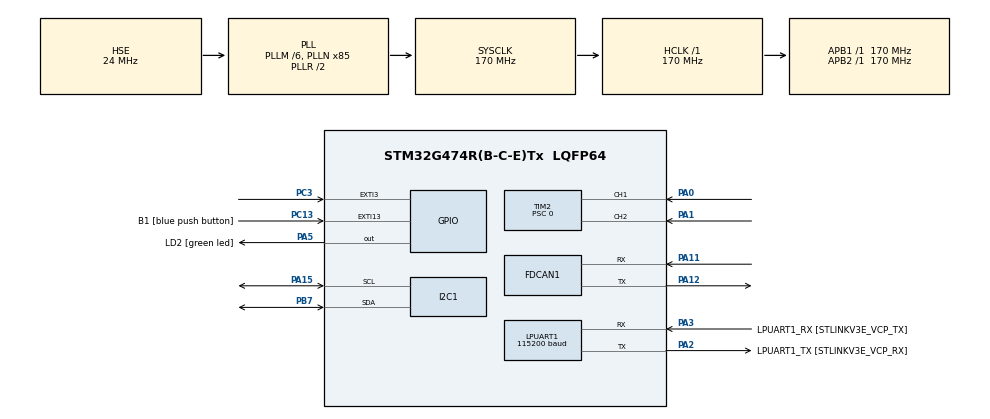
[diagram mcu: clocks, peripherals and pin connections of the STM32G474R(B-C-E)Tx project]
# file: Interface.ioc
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FDCAN1.AutoRetransmission=ENABLE
FDCAN1.CalculateBaudRateNominal=125000
FDCAN1.CalculateTimeBitNominal=8000
FDCAN1.CalculateTimeQuantumNominal=100.0
FDCAN1.DataSyncJumpWidth=12
FDCAN1.DataTimeSeg1=12
FDCAN1.DataTimeSeg2=12
FDCAN1.NominalPrescaler=17
FDCAN1.NominalSyncJumpWidth=13
FDCAN1.NominalTimeSeg1=39
FDCAN1.NominalTimeSeg2=40
FDCAN1.StdFiltersNbr=1
I2C1.Timing=0x30A0A7FB
LPUART1.BaudRate=115200
LPUART1.WordLength=UART_WORDLENGTH_8B
Mcu.Family=STM32G4
Mcu.Name=STM32G474R(B-C-E)Tx
Mcu.Package=LQFP64
NVIC.EXTI15_10_IRQn=true\:0\:0\:false\:false\:true\:true\:true\:true
NVIC.EXTI3_IRQn=true\:0\:0\:false\:false\:true\:true\:true\:true
NVIC.FDCAN1_IT0_IRQn=true\:0\:0\:false\:false\:true\:true\:true\:true
NVIC.FDCAN1_IT1_IRQn=true\:0\:0\:false\:false\:true\:true\:true\:true
NVIC.PriorityGroup=NVIC_PRIORITYGROUP_4
NVIC.TIM2_IRQn=true\:0\:0\:false\:false\:true\:true\:true\:true
PA0.Signal=S_TIM2_CH1
PA1.Signal=S_TIM2_CH2
PA11.Mode=FDCAN_Activate
PA11.Signal=FDCAN1_RX
PA12.Mode=FDCAN_Activate
PA12.Signal=FDCAN1_TX
PA13.GPIO_Label=T_SWDIO
PA13.Mode=Serial_Wire
PA13.Signal=SYS_JTMS-SWDIO
PA14.GPIO_Label=T_SWCLK
PA14.Mode=Serial_Wire
PA14.Signal=SYS_JTCK-SWCLK
PA15.Mode=I2C
PA15.Signal=I2C1_SCL
PA2.GPIO_Label=LPUART1_TX [STLINKV3E_VCP_RX]
PA2.Mode=Asynchronous
PA2.Signal=LPUART1_TX
PA3.GPIO_Label=LPUART1_RX [STLINKV3E_VCP_TX]
PA3.Mode=Asynchronous
PA3.Signal=LPUART1_RX
PA5.GPIO_Label=LD2 [green led]
PA5.Signal=GPIO_Output
PB3.GPIO_Label=T_SWO
PB3.Signal=SYS_JTDO-SWO
PB7.Mode=I2C
PB7.Signal=I2C1_SDA
PC13.GPIO_Label=B1 [blue push button]
PC13.Signal=GPXTI13
PC14-OSC32_IN.Mode=LSE-External-Oscillator
PC14-OSC32_IN.Signal=RCC_OSC32_IN
PC15-OSC32_OUT.Mode=LSE-External-Oscillator
PC15-OSC32_OUT.Signal=RCC_OSC32_OUT
PC3.GPIO_ModeDefaultEXTI=GPIO_MODE_IT_RISING
PC3.GPIO_PuPd=GPIO_PULLUP
PC3.Signal=GPXTI3
PF0-OSC_IN.Mode=HSE-External-Oscillator
PF0-OSC_IN.Signal=RCC_OSC_IN
PF1-OSC_OUT.Mode=HSE-External-Oscillator
PF1-OSC_OUT.Signal=RCC_OSC_OUT
ProjectManager.HeapSize=0x200
ProjectManager.StackSize=0x400
ProjectManager.TargetToolchain=STM32CubeIDE
RCC.ADC12Freq_Value=170000000
RCC.ADC345Freq_Value=170000000
RCC.AHBFreq_Value=170000000
RCC.APB1Freq_Value=170000000
RCC.APB1TimFreq_Value=170000000
RCC.APB2Freq_Value=170000000
RCC.APB2TimFreq_Value=170000000
RCC.CortexFreq_Value=170000000
RCC.EXTERNAL_CLOCK_VALUE=12288000
RCC.HCLKFreq_Value=170000000
RCC.HSE_VALUE=24000000
RCC.HSI48_VALUE=48000000
RCC.HSI_VALUE=16000000
RCC.PLLM=RCC_PLLM_DIV6
RCC.PLLN=85
RCC.PLLSourceVirtual=RCC_PLLSOURCE_HSE
RCC.RTCClockSelection=RCC_RTCCLKSOURCE_LSE
RCC.SYSCLKFreq_VALUE=170000000
RCC.SYSCLKSource=RCC_SYSCLKSOURCE_PLLCLK
RCC.USBFreq_Value=170000000
RCC.VCOOutputFreq_Value=340000000
SH.S_TIM2_CH1.0=TIM2_CH1,Encoder_Interface
SH.S_TIM2_CH2.0=TIM2_CH2,Encoder_Interface
TIM2.AutoReloadPreload=TIM_AUTORELOAD_PRELOAD_ENABLE
TIM2.EncoderMode=TIM_ENCODERMODE_TI12
TIM2.PeriodNoDither=65536
TIM2.Prescaler=0
VP_SYS_VS_DBSignals.Mode=DisableDeadBatterySignals
board=NUCLEO-G474RE

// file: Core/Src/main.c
/* USER CODE BEGIN Header */
/**
  ******************************************************************************
  * @file           : main.c
  * @brief          : Main program body
  ******************************************************************************
  * @attention
  *
  * Copyright (c) 2023 STMicroelectronics.
  * All rights reserved.
  *
  * This software is licensed under terms that can be found in the LICENSE file
  * in the root directory of this software component.
  * If no LICENSE file comes with this software, it is provided AS-IS.
  *
  ******************************************************************************
  */
/* USER CODE END Header */
#include "main.h"

/* USER CODE BEGIN Includes */
#include "stdbool.h"
#include "i2c-lcd.h"
#include <DataFrame.h>
#include <CANparser.h>
#include <stdio.h>
#include <string.h>
/* USER CODE END Includes */

FDCAN_HandleTypeDef hfdcan1;

I2C_HandleTypeDef hi2c1;

UART_HandleTypeDef hlpuart1;

TIM_HandleTypeDef htim2;

/* USER CODE BEGIN PV */

FDCAN_TxHeaderTypeDef TxHeader;
FDCAN_RxHeaderTypeDef RxHeader;

DataFrame data;

// I/O
#define menuItems 2
uint32_t menuSelect = 0;
uint32_t counter = 0;

bool blockbtn = false;
#define debounceTime 200
uint32_t lastPress = 0;

unsigned long lastRefresh = 0;
char screenStr[80];
int screenCharSize;
/* USER CODE END PV */

void SystemClock_Config(void);
static void MX_GPIO_Init(void);
static void MX_LPUART1_UART_Init(void);
static void MX_TIM2_Init(void);
static void MX_I2C1_Init(void);
static void MX_FDCAN1_Init(void);
/* USER CODE BEGIN PFP */

void drawDataScreen(int screencode);

void HAL_FDCAN_RxFifo0Callback(FDCAN_HandleTypeDef *hfdcan, uint32_t RxFifo0ITs) {
	uint8_t RxData[8];
	HAL_FDCAN_GetRxMessage(hfdcan, FDCAN_RX_FIFO0, &RxHeader, RxData);
	CAN_parseMessage(RxHeader.Identifier, RxData, &data);
}

void HAL_TIM_IC_CaptureCallback(TIM_HandleTypeDef *htim) {
	menuSelect = (__HAL_TIM_GET_COUNTER(htim) / 4) % menuItems;
	drawDataScreen(menuSelect);
}

void HAL_GPIO_EXTI_Callback(uint16_t GPIO_PIN) {
	if (GPIO_PIN == GPIO_PIN_3 && !blockbtn ) {
		counter++;
		blockbtn = true;
	}
}

float float_overflowCheck(float val, float replace) {
	if (val > replace) {
		return val = replace;
	}
	else return val;
}

uint8_t uint8_overflowCheck(uint8_t val, uint8_t replace) {
	if (val > replace) {
		return val = replace;
	}
	else return val;
}

uint16_t uint16_overflowCheck(uint16_t val, uint16_t replace) {
	if (val > replace) {
		return val = replace;
	}
	else return val;
}

int _write(int file, char *ptr, int len)
{
  /* Implement your write code here, this is used by puts and printf for example */
  int i=0;
  for(i=0 ; i<len ; i++)
    ITM_SendChar((*ptr++));
  return len;
}
/* USER CODE END PFP */

/* USER CODE BEGIN 0 */

void screen0() {
	float Pmotor = (data.motor.battery_voltage * data.motor.battery_current);
	screenCharSize = sprintf(screenStr,
		"Pin %5i Pou %6.0fRPM %16.2fVEL%6.2f Vba %6.2fTmc%6.2f Tba %6.2f",
		uint16_overflowCheck(data.mppt.power, (uint16_t) 999999),
		float_overflowCheck(Pmotor, 999999),
		float_overflowCheck(data.motor.rpm, 99999999.99),
		float_overflowCheck(data.gps.speed, 999.99),
		float_overflowCheck(data.motor.battery_voltage, 999.99),
		float_overflowCheck(data.motor.controller_temp, 999.99),
		float_overflowCheck(data.bms.cells_temp, 999.99)
	);
	for (int i = 0; i < screenCharSize; i++) {
		lcd_send_data(screenStr[i]);
	}
	for (int i = screenCharSize; i < 80; i++) {
		lcd_send_data(' ');
	}
}
void screen1() {
	//format, numbers give the max digits allowed
	//S = state, W = warning, F = failure
	//motor:W (2) F (7)
	//mppt:	S (1) F (3)
	//fix (1) antenna (1)
	//WiFi (1) time (5)
	uint8_t seconds = (int) (data.telemetry.unixTime % 60);
	screenCharSize = sprintf(screenStr,
		"motor:W %2i F %7ifix %2i %4 antenna %imppt :S %2i ERR %5iWiFi %i %3  time %4i",
		uint8_overflowCheck(data.motor.warning, (uint8_t) 99),
		uint8_overflowCheck(data.motor.failures, (uint8_t) 9999999),
		uint8_overflowCheck(data.gps.fix, (uint8_t) 9),
		uint8_overflowCheck(data.gps.antenna, (uint8_t) 9),
		uint8_overflowCheck(data.mppt.cs, (uint8_t) 9),
		uint8_overflowCheck(data.mppt.error, (uint8_t) 999),
		uint8_overflowCheck(data.telemetry.espStatus, (uint8_t) 9),
		seconds
	);
	for (int i = 0; i < screenCharSize; i++) {
		lcd_send_data(screenStr[i]);
	}
}

void drawDataScreen(int screencode) {
  lcd_send_cmd (0x80|0x00);
  switch (screencode) {
    case 0:
    	screen0();
    	break;
    case 1:
    	screen1();
    	break;
  }
}
/* USER CODE END 0 */

int main(void)
{

  /* MCU Configuration--------------------------------------------------------*/

  /* Reset of all peripherals, Initializes the Flash interface and the Systick. */
  HAL_Init();

  /* Configure the system clock */
  SystemClock_Config();

  /* Initialize all configured peripherals */
  MX_GPIO_Init();
  MX_LPUART1_UART_Init();
  MX_TIM2_Init();
  MX_I2C1_Init();
  MX_FDCAN1_Init();
  /* USER CODE BEGIN 2 */

  TxHeader.Identifier 	= 0x001;
  TxHeader.IdType 		= FDCAN_STANDARD_ID;
  TxHeader.TxFrameType 	= FDCAN_DATA_FRAME;
  TxHeader.DataLength 	= FDCAN_DLC_BYTES_8;
  TxHeader.FDFormat		= FDCAN_CLASSIC_CAN;

  lcd_init();
  HAL_TIM_Encoder_Start_IT(&htim2, TIM_CHANNEL_ALL);

  HAL_FDCAN_Start(&hfdcan1);

   //activates interrupt for a new can Frame
  HAL_FDCAN_ActivateNotification(&hfdcan1, FDCAN_IT_RX_FIFO0_NEW_MESSAGE, 0);

  data.mppt.power = (uint16_t) 65535;
  data.gps.speed = 9999999;
  data.motor.rpm = 9999999;
  data.motor.battery_voltage = 9999999;
  data.motor.battery_current = 9999999;
  data.motor.controller_temp = (uint8_t) 255;
  data.bms.cells_temp = 9999999;
  /* USER CODE END 2 */

  /* Infinite loop */
  while (1)
  {

    /* USER CODE BEGIN 3 */
	if (HAL_GetTick() - lastPress > debounceTime) {
		blockbtn = false;
		lastPress = HAL_GetTick();
	}
	if (HAL_GetTick() - lastRefresh > 1000L) {
		drawDataScreen(menuSelect);
		lastRefresh = HAL_GetTick();
	}
  }
  /* USER CODE END 3 */
}

void SystemClock_Config(void)
{
  RCC_OscInitTypeDef RCC_OscInitStruct = {0};
  RCC_ClkInitTypeDef RCC_ClkInitStruct = {0};

  /** Configure the main internal regulator output voltage
  */
  HAL_PWREx_ControlVoltageScaling(PWR_REGULATOR_VOLTAGE_SCALE1_BOOST);

  /** Initializes the RCC Oscillators according to the specified parameters
  * in the RCC_OscInitTypeDef structure.
  */
  RCC_OscInitStruct.OscillatorType = RCC_OSCILLATORTYPE_HSE;
  RCC_OscInitStruct.HSEState = RCC_HSE_ON;
  RCC_OscInitStruct.PLL.PLLState = RCC_PLL_ON;
  RCC_OscInitStruct.PLL.PLLSource = RCC_PLLSOURCE_HSE;
  RCC_OscInitStruct.PLL.PLLM = RCC_PLLM_DIV6;
  RCC_OscInitStruct.PLL.PLLN = 85;
  RCC_OscInitStruct.PLL.PLLP = RCC_PLLP_DIV2;
  RCC_OscInitStruct.PLL.PLLQ = RCC_PLLQ_DIV2;
  RCC_OscInitStruct.PLL.PLLR = RCC_PLLR_DIV2;
  if (HAL_RCC_OscConfig(&RCC_OscInitStruct) != HAL_OK)
  {
    Error_Handler();
  }

  /** Initializes the CPU, AHB and APB buses clocks
  */
  RCC_ClkInitStruct.ClockType = RCC_CLOCKTYPE_HCLK|RCC_CLOCKTYPE_SYSCLK
                              |RCC_CLOCKTYPE_PCLK1|RCC_CLOCKTYPE_PCLK2;
  RCC_ClkInitStruct.SYSCLKSource = RCC_SYSCLKSOURCE_PLLCLK;
  RCC_ClkInitStruct.AHBCLKDivider = RCC_SYSCLK_DIV1;
  RCC_ClkInitStruct.APB1CLKDivider = RCC_HCLK_DIV1;
  RCC_ClkInitStruct.APB2CLKDivider = RCC_HCLK_DIV1;

  if (HAL_RCC_ClockConfig(&RCC_ClkInitStruct, FLASH_LATENCY_4) != HAL_OK)
  {
    Error_Handler();
  }
}

static void MX_FDCAN1_Init(void)
{

  hfdcan1.Instance = FDCAN1;
  hfdcan1.Init.ClockDivider = FDCAN_CLOCK_DIV1;
  hfdcan1.Init.FrameFormat = FDCAN_FRAME_CLASSIC;
  hfdcan1.Init.Mode = FDCAN_MODE_NORMAL;
  hfdcan1.Init.AutoRetransmission = ENABLE;
  hfdcan1.Init.TransmitPause = DISABLE;
  hfdcan1.Init.ProtocolException = DISABLE;
  hfdcan1.Init.NominalPrescaler = 17;
  hfdcan1.Init.NominalSyncJumpWidth = 13;
  hfdcan1.Init.NominalTimeSeg1 = 39;
  hfdcan1.Init.NominalTimeSeg2 = 40;
  hfdcan1.Init.DataPrescaler = 1;
  hfdcan1.Init.DataSyncJumpWidth = 12;
  hfdcan1.Init.DataTimeSeg1 = 12;
  hfdcan1.Init.DataTimeSeg2 = 12;
  hfdcan1.Init.StdFiltersNbr = 1;
  hfdcan1.Init.ExtFiltersNbr = 0;
  hfdcan1.Init.TxFifoQueueMode = FDCAN_TX_FIFO_OPERATION;
  if (HAL_FDCAN_Init(&hfdcan1) != HAL_OK)
  {
    Error_Handler();
  }

}

static void MX_I2C1_Init(void)
{

  hi2c1.Instance = I2C1;
  hi2c1.Init.Timing = 0x30A0A7FB;
  hi2c1.Init.OwnAddress1 = 0;
  hi2c1.Init.AddressingMode = I2C_ADDRESSINGMODE_7BIT;
  hi2c1.Init.DualAddressMode = I2C_DUALADDRESS_DISABLE;
  hi2c1.Init.OwnAddress2 = 0;
  hi2c1.Init.OwnAddress2Masks = I2C_OA2_NOMASK;
  hi2c1.Init.GeneralCallMode = I2C_GENERALCALL_DISABLE;
  hi2c1.Init.NoStretchMode = I2C_NOSTRETCH_DISABLE;
  if (HAL_I2C_Init(&hi2c1) != HAL_OK)
  {
    Error_Handler();
  }

  /** Configure Analogue filter
  */
  if (HAL_I2CEx_ConfigAnalogFilter(&hi2c1, I2C_ANALOGFILTER_ENABLE) != HAL_OK)
  {
    Error_Handler();
  }

  /** Configure Digital filter
  */
  if (HAL_I2CEx_ConfigDigitalFilter(&hi2c1, 0) != HAL_OK)
  {
    Error_Handler();
  }

}

static void MX_LPUART1_UART_Init(void)
{

  hlpuart1.Instance = LPUART1;
  hlpuart1.Init.BaudRate = 115200;
  hlpuart1.Init.WordLength = UART_WORDLENGTH_8B;
  hlpuart1.Init.StopBits = UART_STOPBITS_1;
  hlpuart1.Init.Parity = UART_PARITY_NONE;
  hlpuart1.Init.Mode = UART_MODE_TX_RX;
  hlpuart1.Init.HwFlowCtl = UART_HWCONTROL_NONE;
  hlpuart1.Init.OneBitSampling = UART_ONE_BIT_SAMPLE_DISABLE;
  hlpuart1.Init.ClockPrescaler = UART_PRESCALER_DIV1;
  hlpuart1.AdvancedInit.AdvFeatureInit = UART_ADVFEATURE_NO_INIT;
  if (HAL_UART_Init(&hlpuart1) != HAL_OK)
  {
    Error_Handler();
  }
  if (HAL_UARTEx_SetTxFifoThreshold(&hlpuart1, UART_TXFIFO_THRESHOLD_1_8) != HAL_OK)
  {
    Error_Handler();
  }
  if (HAL_UARTEx_SetRxFifoThreshold(&hlpuart1, UART_RXFIFO_THRESHOLD_1_8) != HAL_OK)
  {
    Error_Handler();
  }
  if (HAL_UARTEx_DisableFifoMode(&hlpuart1) != HAL_OK)
  {
    Error_Handler();
  }

}

static void MX_TIM2_Init(void)
{

  TIM_Encoder_InitTypeDef sConfig = {0};
  TIM_MasterConfigTypeDef sMasterConfig = {0};

  htim2.Instance = TIM2;
  htim2.Init.Prescaler = 0;
  htim2.Init.CounterMode = TIM_COUNTERMODE_UP;
  htim2.Init.Period = 65536;
  htim2.Init.ClockDivision = TIM_CLOCKDIVISION_DIV1;
  htim2.Init.AutoReloadPreload = TIM_AUTORELOAD_PRELOAD_ENABLE;
  sConfig.EncoderMode = TIM_ENCODERMODE_TI12;
  sConfig.IC1Polarity = TIM_ICPOLARITY_RISING;
  sConfig.IC1Selection = TIM_ICSELECTION_DIRECTTI;
  sConfig.IC1Prescaler = TIM_ICPSC_DIV1;
  sConfig.IC1Filter = 0;
  sConfig.IC2Polarity = TIM_ICPOLARITY_RISING;
  sConfig.IC2Selection = TIM_ICSELECTION_DIRECTTI;
  sConfig.IC2Prescaler = TIM_ICPSC_DIV1;
  sConfig.IC2Filter = 0;
  if (HAL_TIM_Encoder_Init(&htim2, &sConfig) != HAL_OK)
  {
    Error_Handler();
  }
  sMasterConfig.MasterOutputTrigger = TIM_TRGO_RESET;
  sMasterConfig.MasterSlaveMode = TIM_MASTERSLAVEMODE_DISABLE;
  if (HAL_TIMEx_MasterConfigSynchronization(&htim2, &sMasterConfig) != HAL_OK)
  {
    Error_Handler();
  }

}

static void MX_GPIO_Init(void)
{
  GPIO_InitTypeDef GPIO_InitStruct = {0};

  /* GPIO Ports Clock Enable */
  __HAL_RCC_GPIOC_CLK_ENABLE();
  __HAL_RCC_GPIOF_CLK_ENABLE();
  __HAL_RCC_GPIOA_CLK_ENABLE();
  __HAL_RCC_GPIOB_CLK_ENABLE();

  /*Configure GPIO pin Output Level */
  HAL_GPIO_WritePin(LD2_GPIO_Port, LD2_Pin, GPIO_PIN_RESET);

  /*Configure GPIO pin : B1_Pin */
  GPIO_InitStruct.Pin = B1_Pin;
  GPIO_InitStruct.Mode = GPIO_MODE_IT_RISING;
  GPIO_InitStruct.Pull = GPIO_NOPULL;
  HAL_GPIO_Init(B1_GPIO_Port, &GPIO_InitStruct);

  /*Configure GPIO pin : PC3 */
  GPIO_InitStruct.Pin = GPIO_PIN_3;
  GPIO_InitStruct.Mode = GPIO_MODE_IT_RISING;
  GPIO_InitStruct.Pull = GPIO_PULLUP;
  HAL_GPIO_Init(GPIOC, &GPIO_InitStruct);

  /*Configure GPIO pin : LD2_Pin */
  GPIO_InitStruct.Pin = LD2_Pin;
  GPIO_InitStruct.Mode = GPIO_MODE_OUTPUT_PP;
  GPIO_InitStruct.Pull = GPIO_NOPULL;
  GPIO_InitStruct.Speed = GPIO_SPEED_FREQ_LOW;
  HAL_GPIO_Init(LD2_GPIO_Port, &GPIO_InitStruct);

  /* EXTI interrupt init*/
  HAL_NVIC_SetPriority(EXTI3_IRQn, 0, 0);
  HAL_NVIC_EnableIRQ(EXTI3_IRQn);

  HAL_NVIC_SetPriority(EXTI15_10_IRQn, 0, 0);
  HAL_NVIC_EnableIRQ(EXTI15_10_IRQn);

}

void Error_Handler(void)
{
  __disable_irq();
  while (1)
  {
  }
}
